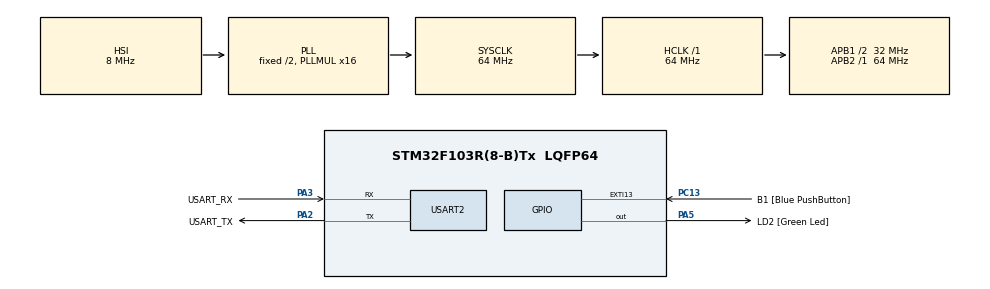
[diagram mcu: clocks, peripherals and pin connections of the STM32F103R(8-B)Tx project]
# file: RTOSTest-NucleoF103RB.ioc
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FREERTOS.Tasks01=defaultTask,0,128,StartDefaultTask,Default,NULL,Dynamic,NULL,NULL;myTask02,-3,128,StartTask02,Default,NULL,Dynamic,NULL,NULL;myTask03,0,128,StartTask03,Default,NULL,Dynamic,NULL,NULL
Mcu.Family=STM32F1
Mcu.Name=STM32F103R(8-B)Tx
Mcu.Package=LQFP64
NVIC.EXTI15_10_IRQn=true\:5\:0\:false\:false\:true\:true\:true\:true\:true
NVIC.PriorityGroup=NVIC_PRIORITYGROUP_4
NVIC.TIM1_UP_IRQn=true\:15\:0\:false\:false\:true\:false\:false\:true\:true
NVIC.TimeBase=TIM1_UP_IRQn
NVIC.TimeBaseIP=TIM1
PA13.GPIO_Label=TMS
PA13.Mode=Serial_Wire
PA13.Signal=SYS_JTMS-SWDIO
PA14.GPIO_Label=TCK
PA14.Mode=Serial_Wire
PA14.Signal=SYS_JTCK-SWCLK
PA2.GPIO_Label=USART_TX
PA2.GPIO_Mode=GPIO_MODE_AF_PP
PA2.GPIO_PuPd=GPIO_NOPULL
PA2.GPIO_Speed=GPIO_SPEED_FREQ_LOW
PA2.Mode=Asynchronous
PA2.Signal=USART2_TX
PA3.GPIO_Label=USART_RX
PA3.GPIO_Mode=GPIO_MODE_AF_PP
PA3.GPIO_PuPd=GPIO_NOPULL
PA3.GPIO_Speed=GPIO_SPEED_FREQ_LOW
PA3.Mode=Asynchronous
PA3.Signal=USART2_RX
PA5.GPIO_Label=LD2 [Green Led]
PA5.GPIO_ModeDefaultOutputPP=GPIO_MODE_OUTPUT_PP
PA5.GPIO_PuPd=GPIO_NOPULL
PA5.GPIO_Speed=GPIO_SPEED_FREQ_LOW
PA5.Signal=GPIO_Output
PB3.GPIO_Label=SWO
PB3.Signal=SYS_JTDO-TRACESWO
PC13-TAMPER-RTC.GPIO_Label=B1 [Blue PushButton]
PC13-TAMPER-RTC.GPIO_PuPd=GPIO_NOPULL
PC13-TAMPER-RTC.Signal=GPXTI13
PC14-OSC32_IN.Mode=LSE-External-Oscillator
PC14-OSC32_IN.Signal=RCC_OSC32_IN
PC15-OSC32_OUT.Mode=LSE-External-Oscillator
PC15-OSC32_OUT.Signal=RCC_OSC32_OUT
PD0-OSC_IN.Mode=HSE-External-Clock-Source
PD0-OSC_IN.Signal=RCC_OSC_IN
PD1-OSC_OUT.Mode=HSE-External-Clock-Source
PD1-OSC_OUT.Signal=RCC_OSC_OUT
ProjectManager.HeapSize=0x200
ProjectManager.StackSize=0x400
ProjectManager.TargetToolchain=STM32CubeIDE
RCC.AHBFreq_Value=64000000
RCC.APB1CLKDivider=RCC_HCLK_DIV2
RCC.APB1Freq_Value=32000000
RCC.APB1TimFreq_Value=64000000
RCC.APB2Freq_Value=64000000
RCC.APB2TimFreq_Value=64000000
RCC.HCLKFreq_Value=64000000
RCC.PLLMUL=RCC_PLL_MUL16
RCC.RTCClockSelection=RCC_RTCCLKSOURCE_LSE
RCC.SYSCLKFreq_VALUE=64000000
RCC.SYSCLKSource=RCC_SYSCLKSOURCE_PLLCLK
RCC.USBFreq_Value=64000000
USART2.VirtualMode=VM_ASYNC
VP_FREERTOS_VS_CMSIS_V1.Mode=CMSIS_V1
VP_SYS_VS_tim1.Mode=TIM1
board=NUCLEO-F103RB

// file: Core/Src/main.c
/* USER CODE BEGIN Header */
/**
  ******************************************************************************
  * @file           : main.c
  * @brief          : Main program body
  ******************************************************************************
  * @attention
  *
  * Copyright (c) 2023 STMicroelectronics.
  * All rights reserved.
  *
  * This software is licensed under terms that can be found in the LICENSE file
  * in the root directory of this software component.
  * If no LICENSE file comes with this software, it is provided AS-IS.
  *
  ******************************************************************************
  */
/* USER CODE END Header */
#include "main.h"
#include "cmsis_os.h"

UART_HandleTypeDef huart2;

osThreadId defaultTaskHandle;
osThreadId myTask02Handle;
osThreadId myTask03Handle;

void SystemClock_Config(void);
static void MX_GPIO_Init(void);
static void MX_USART2_UART_Init(void);
void StartDefaultTask(void const * argument);
void StartTask02(void const * argument);
void StartTask03(void const * argument);

/* USER CODE BEGIN 0 */

static QueueHandle_t queue;

/* USER CODE END 0 */

int main(void)
{
  /* USER CODE BEGIN 1 */
	queue = xQueueCreate(20,sizeof(uint8_t));

  /* USER CODE END 1 */

  /* MCU Configuration--------------------------------------------------------*/

  /* Reset of all peripherals, Initializes the Flash interface and the Systick. */
  HAL_Init();

  /* Configure the system clock */
  SystemClock_Config();

  /* Initialize all configured peripherals */
  MX_GPIO_Init();
  MX_USART2_UART_Init();

  /* Create the thread(s) */
  /* definition and creation of defaultTask */
  osThreadDef(defaultTask, StartDefaultTask, osPriorityNormal, 0, 128);
  defaultTaskHandle = osThreadCreate(osThread(defaultTask), NULL);

  /* definition and creation of myTask02 */
  osThreadDef(myTask02, StartTask02, osPriorityIdle, 0, 128);
  myTask02Handle = osThreadCreate(osThread(myTask02), NULL);

  /* definition and creation of myTask03 */
  osThreadDef(myTask03, StartTask03, osPriorityNormal, 0, 128);
  myTask03Handle = osThreadCreate(osThread(myTask03), NULL);

  /* Start scheduler */
  osKernelStart();

  /* We should never get here as control is now taken by the scheduler */
  /* Infinite loop */
  /* USER CODE BEGIN WHILE */
  while (1)
  {
	  //HAL_GPIO_TogglePin(GPIOA, GPIO_PIN_5);
	  //HAL_Delay(1000);
    /* USER CODE END WHILE */

  }
}

void SystemClock_Config(void)
{
  RCC_OscInitTypeDef RCC_OscInitStruct = {0};
  RCC_ClkInitTypeDef RCC_ClkInitStruct = {0};

  /** Initializes the RCC Oscillators according to the specified parameters
  * in the RCC_OscInitTypeDef structure.
  */
  RCC_OscInitStruct.OscillatorType = RCC_OSCILLATORTYPE_HSI;
  RCC_OscInitStruct.HSIState = RCC_HSI_ON;
  RCC_OscInitStruct.HSICalibrationValue = RCC_HSICALIBRATION_DEFAULT;
  RCC_OscInitStruct.PLL.PLLState = RCC_PLL_ON;
  RCC_OscInitStruct.PLL.PLLSource = RCC_PLLSOURCE_HSI_DIV2;
  RCC_OscInitStruct.PLL.PLLMUL = RCC_PLL_MUL16;
  if (HAL_RCC_OscConfig(&RCC_OscInitStruct) != HAL_OK)
  {
    Error_Handler();
  }

  /** Initializes the CPU, AHB and APB buses clocks
  */
  RCC_ClkInitStruct.ClockType = RCC_CLOCKTYPE_HCLK|RCC_CLOCKTYPE_SYSCLK
                              |RCC_CLOCKTYPE_PCLK1|RCC_CLOCKTYPE_PCLK2;
  RCC_ClkInitStruct.SYSCLKSource = RCC_SYSCLKSOURCE_PLLCLK;
  RCC_ClkInitStruct.AHBCLKDivider = RCC_SYSCLK_DIV1;
  RCC_ClkInitStruct.APB1CLKDivider = RCC_HCLK_DIV2;
  RCC_ClkInitStruct.APB2CLKDivider = RCC_HCLK_DIV1;

  if (HAL_RCC_ClockConfig(&RCC_ClkInitStruct, FLASH_LATENCY_2) != HAL_OK)
  {
    Error_Handler();
  }
}

static void MX_USART2_UART_Init(void)
{

  huart2.Instance = USART2;
  huart2.Init.BaudRate = 115200;
  huart2.Init.WordLength = UART_WORDLENGTH_8B;
  huart2.Init.StopBits = UART_STOPBITS_1;
  huart2.Init.Parity = UART_PARITY_NONE;
  huart2.Init.Mode = UART_MODE_TX_RX;
  huart2.Init.HwFlowCtl = UART_HWCONTROL_NONE;
  huart2.Init.OverSampling = UART_OVERSAMPLING_16;
  if (HAL_UART_Init(&huart2) != HAL_OK)
  {
    Error_Handler();
  }

}

static void MX_GPIO_Init(void)
{
  GPIO_InitTypeDef GPIO_InitStruct = {0};

  /* GPIO Ports Clock Enable */
  __HAL_RCC_GPIOC_CLK_ENABLE();
  __HAL_RCC_GPIOD_CLK_ENABLE();
  __HAL_RCC_GPIOA_CLK_ENABLE();
  __HAL_RCC_GPIOB_CLK_ENABLE();

  /*Configure GPIO pin Output Level */
  HAL_GPIO_WritePin(LD2_GPIO_Port, LD2_Pin, GPIO_PIN_RESET);

  /*Configure GPIO pin : B1_Pin */
  GPIO_InitStruct.Pin = B1_Pin;
  GPIO_InitStruct.Mode = GPIO_MODE_IT_RISING;
  GPIO_InitStruct.Pull = GPIO_NOPULL;
  HAL_GPIO_Init(B1_GPIO_Port, &GPIO_InitStruct);

  /*Configure GPIO pin : LD2_Pin */
  GPIO_InitStruct.Pin = LD2_Pin;
  GPIO_InitStruct.Mode = GPIO_MODE_OUTPUT_PP;
  GPIO_InitStruct.Pull = GPIO_NOPULL;
  GPIO_InitStruct.Speed = GPIO_SPEED_FREQ_LOW;
  HAL_GPIO_Init(LD2_GPIO_Port, &GPIO_InitStruct);

  /* EXTI interrupt init*/
  HAL_NVIC_SetPriority(EXTI15_10_IRQn, 5, 0);
  HAL_NVIC_EnableIRQ(EXTI15_10_IRQn);

}

void StartDefaultTask(void const * argument)
{
  /* USER CODE BEGIN 5 */
  /* Infinite loop */
  for(;;)
  {
	  HAL_GPIO_TogglePin(GPIOA, GPIO_PIN_5);
	  uint8_t data[] = "Task1\n\r";
	  HAL_UART_Transmit(&huart2, data, sizeof(data), 500);
	  osDelay(3000);
	//send_task();
  }
  /* USER CODE END 5 */
}

void StartTask02(void const * argument)
{
  /* USER CODE BEGIN StartTask02 */
	uint8_t num;

  /* Infinite loop */
  for(;;)
  {

	  //Checks for data in queue and prints it to the console.
	  if(xQueueReceive(queue, (void*)&num, 0) == pdTRUE){
		  uint8_t data[] = {num};
		  HAL_UART_Transmit(&huart2, data, sizeof(data), 500);
	  }
	  //uint8_t data[] = "TaskIdle\n\r";
	  //HAL_UART_Transmit(&huart2, data, sizeof(data), 500);
	  osDelay(1000);
  }
  /* USER CODE END StartTask02 */
}

void StartTask03(void const * argument)
{
  /* USER CODE BEGIN StartTask03 */
  /* Infinite loop */
  static int num = 1;

  for(;;)
  {

	  xQueueSend(queue, (void*)num, 1);
	  uint8_t data[] = "Task3\n\r";
	  HAL_UART_Transmit(&huart2, data, sizeof(data), 500);
	  osDelay(3000);
  }
  /* USER CODE END StartTask03 */
}

void HAL_TIM_PeriodElapsedCallback(TIM_HandleTypeDef *htim)
{
  if (htim->Instance == TIM1) {
    HAL_IncTick();
  }
}

void Error_Handler(void)
{
  __disable_irq();
  while (1)
  {
  }
}
